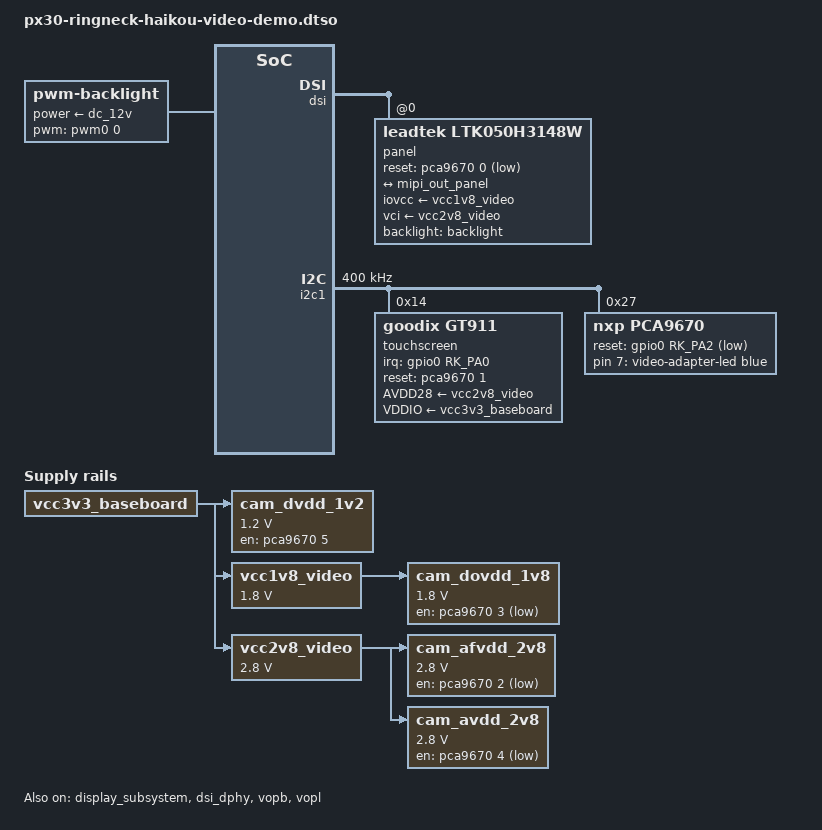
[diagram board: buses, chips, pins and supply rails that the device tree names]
// SPDX-License-Identifier: (GPL-2.0+ OR MIT)
/*
 * Copyright (c) 2025 Cherry Embedded Solutions GmbH
 *
 * DEVKIT ADDON CAM-TS-A01
 * https://embedded.cherry.de/product/development-kit/
 *
 * DT-overlay for the camera / DSI demo appliance for Haikou boards.
 * In the flavour for use with a Ringneck system-on-module.
 */

/dts-v1/;
/plugin/;

#include <dt-bindings/clock/px30-cru.h>
#include <dt-bindings/gpio/gpio.h>
#include <dt-bindings/interrupt-controller/irq.h>
#include <dt-bindings/leds/common.h>
#include <dt-bindings/pinctrl/rockchip.h>

&{/} {
	backlight: backlight {
		compatible = "pwm-backlight";
		power-supply = <&dc_12v>;
		pwms = <&pwm0 0 25000 0>;
	};

	cam_afvdd_2v8: regulator-cam-afvdd-2v8 {
		compatible  = "regulator-fixed";
		gpio = <&pca9670 2 GPIO_ACTIVE_LOW>;
		regulator-max-microvolt = <2800000>;
		regulator-min-microvolt = <2800000>;
		regulator-name = "cam-afvdd-2v8";
		vin-supply = <&vcc2v8_video>;
	};

	cam_avdd_2v8: regulator-cam-avdd-2v8 {
		compatible  = "regulator-fixed";
		gpio = <&pca9670 4 GPIO_ACTIVE_LOW>;
		regulator-max-microvolt = <2800000>;
		regulator-min-microvolt = <2800000>;
		regulator-name = "cam-avdd-2v8";
		vin-supply = <&vcc2v8_video>;
	};

	cam_dovdd_1v8: regulator-cam-dovdd-1v8 {
		compatible  = "regulator-fixed";
	        gpio = <&pca9670 3 GPIO_ACTIVE_LOW>;
	        regulator-max-microvolt = <1800000>;
	        regulator-min-microvolt = <1800000>;
	        regulator-name = "cam-dovdd-1v8";
	        vin-supply = <&vcc1v8_video>;
	};

	cam_dvdd_1v2: regulator-cam-dvdd-1v2 {
		compatible = "regulator-fixed";
		enable-active-high;
		gpio = <&pca9670 5 GPIO_ACTIVE_HIGH>;
		regulator-max-microvolt = <1200000>;
		regulator-min-microvolt = <1200000>;
		regulator-name = "cam-dvdd-1v2";
		vin-supply = <&vcc3v3_baseboard>;
	};

	vcc1v8_video: regulator-vcc1v8-video {
		compatible = "regulator-fixed";
		regulator-always-on;
		regulator-boot-on;
		regulator-max-microvolt = <1800000>;
		regulator-min-microvolt = <1800000>;
		regulator-name = "vcc1v8-video";
		vin-supply = <&vcc3v3_baseboard>;
	};

	vcc2v8_video: regulator-vcc2v8-video {
		compatible = "regulator-fixed";
		regulator-always-on;
		regulator-boot-on;
		regulator-max-microvolt = <2800000>;
		regulator-min-microvolt = <2800000>;
		regulator-name = "vcc2v8-video";
		vin-supply = <&vcc3v3_baseboard>;
	};

	video-adapter-leds {
		compatible = "gpio-leds";

		video-adapter-led {
			color = <LED_COLOR_ID_BLUE>;
			gpios = <&pca9670 7 GPIO_ACTIVE_HIGH>;
			label = "video-adapter-led";
			linux,default-trigger = "none";
		};
	};
};

&display_subsystem {
	status = "okay";
};

&dsi {
	#address-cells = <1>;
	#size-cells = <0>;
	status = "okay";

	panel@0 {
		compatible = "leadtek,ltk050h3148w";
		reg = <0>;
		backlight = <&backlight>;
		iovcc-supply = <&vcc1v8_video>;
		reset-gpios = <&pca9670 0 GPIO_ACTIVE_LOW>;
		vci-supply = <&vcc2v8_video>;

		port {
			mipi_in_panel: endpoint {
				remote-endpoint = <&mipi_out_panel>;
			};
		};
	};
};

&dsi_dphy {
	status = "okay";
};

&dsi_out {
	mipi_out_panel: endpoint {
		remote-endpoint = <&mipi_in_panel>;
	};
};

&i2c1 {
	#address-cells = <1>;
	#size-cells = <0>;
	/* OV5675, GT911, DW9714 are limited to 400KHz */
	clock-frequency = <400000>;

	touchscreen@14 {
		compatible = "goodix,gt911";
		reg = <0x14>;
		interrupt-parent = <&gpio0>;
		interrupts = <RK_PA0 IRQ_TYPE_LEVEL_LOW>;
		irq-gpios = <&gpio0 RK_PA0 GPIO_ACTIVE_HIGH>;
		pinctrl-0 = <&touch_int>;
		pinctrl-names = "default";
		reset-gpios = <&pca9670 1 GPIO_ACTIVE_HIGH>;
		AVDD28-supply = <&vcc2v8_video>;
		VDDIO-supply = <&vcc3v3_baseboard>;
	};

	pca9670: gpio@27 {
		compatible = "nxp,pca9670";
		reg = <0x27>;
		gpio-controller;
		#gpio-cells = <2>;
		pinctrl-0 = <&pca9670_resetn>;
		pinctrl-names = "default";
		reset-gpios = <&gpio0 RK_PA2 GPIO_ACTIVE_LOW>;
	};
};

&pinctrl {
	pca9670 {
		pca9670_resetn: pca9670-resetn {
			rockchip,pins = <0 RK_PA2 RK_FUNC_GPIO &pcfg_pull_none>;
		};
	};

	touch {
		touch_int: touch-int {
			rockchip,pins = <0 RK_PA0 RK_FUNC_GPIO &pcfg_pull_none>;
		};
	};
};

&vopb {
	status = "okay";
};

&vopb_mmu {
	status = "okay";
};

&vopl {
	status = "okay";
};

&vopl_mmu {
	status = "okay";
};
